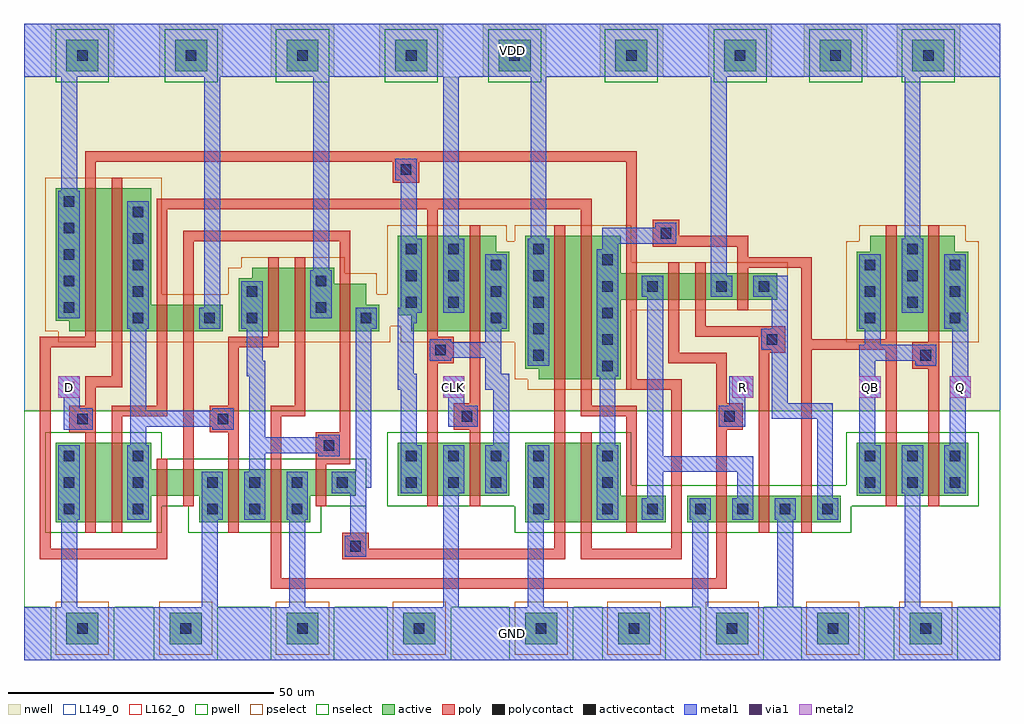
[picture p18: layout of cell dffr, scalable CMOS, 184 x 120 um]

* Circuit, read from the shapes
.subckt dffr CLK D GND Q QB R VDD
M1 n1 D GND GND nfet w=15u l=2u
M2 n2 n3 n1 GND nfet w=15u l=2u
M3 n4 n5 n2 GND nfet w=5u l=2u
M4 GND n6 n4 GND nfet w=5u l=2u
M5 n6 n2 GND GND nfet w=10u l=2u
M6 GND R n6 GND nfet w=10u l=2u
M7 n7 n6 GND GND nfet w=5u l=2u
M8 GND n3 n5 GND nfet w=10u l=2u
M9 n3 CLK GND GND nfet w=10u l=2u
M10 n8 n7 GND GND nfet w=15u l=2u
M11 n9 n5 n8 GND nfet w=15u l=2u
M12 n10 n3 n9 GND nfet w=5u l=2u
M13 n10 R GND GND nfet w=5u l=2u
M14 GND n11 n10 GND nfet w=5u l=2u
M15 n11 n9 GND GND nfet w=5u l=2u
M16 GND n9 QB GND nfet w=10u l=2u
M17 Q QB GND GND nfet w=10u l=2u
M18 n12 n5 VDD VDD pfet w=27u l=2u
M19 n2 D n12 VDD pfet w=27u l=2u
M20 n13 n3 n2 VDD pfet w=5u l=2u
M21 VDD n6 n13 VDD pfet w=5u l=2u
M22 n14 n2 n6 VDD pfet w=12u l=2u
M23 VDD R n14 VDD pfet w=12u l=2u
M24 n7 n6 VDD VDD pfet w=9u l=2u
M25 VDD n3 n5 VDD pfet w=18u l=2u
M26 n3 CLK VDD VDD pfet w=18u l=2u
M27 n15 n7 VDD VDD pfet w=27u l=2u
M28 n9 n3 n15 VDD pfet w=27u l=2u
M29 n10 n5 n9 VDD pfet w=5u l=2u
M30 n16 R n10 VDD pfet w=5u l=2u
M31 VDD n11 n16 VDD pfet w=5u l=2u
M32 n11 n9 VDD VDD pfet w=5u l=2u
M33 VDD n9 QB VDD pfet w=18u l=2u
M34 Q QB VDD VDD pfet w=18u l=2u
.ends

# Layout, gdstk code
import gdstk
lib = gdstk.Library(unit=1e-6, precision=1e-09)
def R(c, l, rs):  # rectangles x0, y0, x1, y1
    for r in rs: c.add(gdstk.rectangle(r[:2], r[2:], *l))
def A(c, l, x, y, w, h, nx, ny, dx, dy):  # array of equal rectangles
    R(c, l, [(x+i*dx, y+j*dy, x+i*dx+w, y+j*dy+h) for i in range(nx) for j in range(ny)])
def P(c, l, *ps):  # polygons
    for p in ps: c.add(gdstk.Polygon(p, *l))
pwell = (41, 0)
nwell = (42, 0)
active = (43, 0)
pselect = (44, 0)
nselect = (45, 0)
poly = (46, 0)
polycontact = (47, 0)
activecontact = (48, 0)
metal1 = (49, 0)
via1 = (50, 0)
metal2 = (51, 0)
L149_0 = (149, 0)
L162_0 = (162, 0)

pwell_contact = lib.new_cell('pwell_contact')
R(pwell_contact, pwell, [(-6,-6,6,5)])
R(pwell_contact, active, [(-3,-3,3,3)])
R(pwell_contact, pselect, [(-5,-5,5,5)])
R(pwell_contact, activecontact, [(-1,-1,1,1)])

nwell_contact = lib.new_cell('nwell_contact')
R(nwell_contact, nwell, [(-6,-5,6,6)])
R(nwell_contact, active, [(-3,-3,3,3)])
R(nwell_contact, nselect, [(-5,-5,5,5)])
R(nwell_contact, activecontact, [(-1,-1,1,1)])

via = lib.new_cell('via')
R(via, metal1, [(-2,-2,2,2)])
R(via, via1, [(-1,-1,1,1)])
R(via, metal2, [(-2,-2,2,2)])

dffr = lib.new_cell('dffr')
R(dffr, pwell, [(0,10,184,20), (0,10,184,47), (119,20,160,37), (64.5,25,97.5,47), (151,25,184,47)])
P(dffr, pwell, [(127,20),(88.5,20),(88.5,47),(118.5,47),(118.5,37),(127,37)],
  [(0,20),(60,20),(60,25),(68.5,25),(68.5,42),(30,42),(30,47),(0,47)])
R(dffr, nwell, [(0,47,184,110), (0,95,184,110)])
P(dffr, nwell, [(0,58),(2.5,58),(2.5,56),(43.5,56),(43.5,73),(30,73),(30,95),(0,95)],
  [(64.5,59),(67,59),(67,56),(97.5,56),(97.5,83),(95,83),(95,86),(64.5,86)],
  [(34.5,56),(73,56),(73,73),(70.5,73),(70.5,77),(64.5,77),(64.5,80),(37,80),(37,78),(34.5,78)],
  [(184,56),(151,56),(151,83),(153.5,83),(153.5,86),(181.5,86),(181.5,83),(184,83)],
  [(88.5,49),(91,49),(91,47),(118.5,47),(118.5,62),(148,62),(148,79),(118.5,79),(118.5,86),(88.5,86)])
R(dffr, active, [(125,26,154,31), (70.5,31,91.5,41), (157,31,178,41)])
P(dffr, active, [(6,64),(8.5,64),(8.5,62),(37.5,62),(37.5,67),(24,67),(24,89),(6,89)],
  [(70.5,65),(73,65),(73,62),(91.5,62),(91.5,77),(89,77),(89,80),(70.5,80)],
  [(121,26),(94.5,26),(94.5,41),(112.5,41),(112.5,31),(121,31)],
  [(40.5,62),(67,62),(67,67),(64.5,67),(64.5,71),(58.5,71),(58.5,74),(43,74),(43,72),(40.5,72)],
  [(6,26),(24,26),(24,31),(33,31),(33,26),(54,26),(54,31),(62.5,31),(62.5,36),(24,36),(24,41),(6,41)],
  [(178,62),(157,62),(157,77),(159.5,77),(159.5,80),(175.5,80),(175.5,77),(178,77)],
  [(94.5,55),(97,55),(97,53),(112.5,53),(112.5,68),(142,68),(142,73),(112.5,73),(112.5,80),(94.5,80)])
P(dffr, pselect, [(4,62),(6.5,62),(6.5,60),(39.5,60),(39.5,69),(26,69),(26,91),(4,91)],
  [(68.5,63),(71,63),(71,60),(93.5,60),(93.5,79),(91,79),(91,82),(68.5,82)],
  [(38.5,60),(69,60),(69,69),(66.5,69),(66.5,73),(60.5,73),(60.5,76),(41,76),(41,74),(38.5,74)],
  [(180,60),(155,60),(155,79),(157.5,79),(157.5,82),(177.5,82),(177.5,79),(180,79)],
  [(92.5,53),(95,53),(95,51),(114.5,51),(114.5,66),(144,66),(144,75),(114.5,75),(114.5,82),(92.5,82)])
R(dffr, nselect, [(123,24,156,33), (68.5,29,93.5,43), (155,29,180,43)])
P(dffr, nselect, [(123,24),(92.5,24),(92.5,43),(114.5,43),(114.5,33),(123,33)],
  [(4,24),(26,24),(26,29),(31,29),(31,24),(56,24),(56,29),(64.5,29),(64.5,38),(26,38),(26,43),(4,43)])
A(dffr, poly, 130.5, 24, 2, 2, 3, 2, 8, 7)
A(dffr, poly, 130.5, 26, 2, 5, 3, 1, 8, 0)
R(dffr, poly, [(60,19,65,24), (11.5,24,13.5,26), (16.5,24,18.5,26), (38.5,24,40.5,26), (46.5,24,48.5,26), (100,24,102,26), (105,24,107,26), (113.5,24,115.5,26), (11.5,26,13.5,41), (16.5,26,18.5,41), (38.5,26,40.5,36), (46.5,26,48.5,36), (100,26,102,41), (105,26,107,41), (113.5,26,115.5,31), (25,29,27,31), (30,29,32,31), (55,29,57,31), (76,29,78,31), (84,29,86,31), (162.5,29,164.5,31), (170.5,29,172.5,31), (25,31,27,36), (30,31,32,36), (55,31,57,36), (76,31,78,41), (84,31,86,41), (113.5,31,115.5,33), (162.5,31,164.5,41), (170.5,31,172.5,41), (25,36,27,38), (30,36,32,38), (38.5,36,40.5,38), (46.5,36,48.5,38), (55,36,57,38), (55,38,60,43), (11.5,41,13.5,43), (16.5,41,18.5,43), (76,41,78,43), (84,41,86,43), (100,41,102,43), (105,41,107,43), (162.5,41,164.5,43), (170.5,41,172.5,43), (8.5,43,13.5,48), (35,43,40,48), (81,43.5,86,48.5), (130.5,43.5,135.5,48.5), (100,51,102,53), (105,51,107,53), (100,53,102,80), (105,53,107,80), (167.5,55,172.5,60), (76,56,81,61), (138.5,58,143.5,63), (11.5,60,13.5,62), (16.5,60,18.5,62), (25,60,27,62), (30,60,32,62), (46,60,48,62), (51,60,53,62), (59.5,60,61.5,62), (76,60,78,62), (84,60,86,62), (162.5,60,164.5,62), (170.5,60,172.5,62), (11.5,62,13.5,89), (16.5,62,18.5,89), (25,62,27,67), (30,62,32,67), (46,62,48,74), (51,62,53,74), (59.5,62,61.5,71), (76,62,78,80), (84,62,86,80), (162.5,62,164.5,80), (170.5,62,172.5,80), (113.5,66,115.5,68), (121.5,66,123.5,68), (126.5,66,128.5,68), (134.5,66,136.5,68), (25,67,27,69), (30,67,32,69), (113.5,68,115.5,73), (121.5,68,123.5,73), (126.5,68,128.5,73), (134.5,68,136.5,73), (59.5,71,61.5,73), (113.5,73,115.5,75), (121.5,73,123.5,75), (126.5,73,128.5,75), (134.5,73,136.5,75), (46,74,48,76), (51,74,53,76), (118.5,78,123.5,83), (76,80,78,82), (84,80,86,82), (100,80,102,82), (105,80,107,82), (162.5,80,164.5,82), (170.5,80,172.5,82), (11.5,89,13.5,91), (16.5,89,18.5,91), (69.5,90,74.5,95)])
R(dffr, polycontact, [(61.5,20.5,63.5,22.5), (56.5,39.5,58.5,41.5), (10,44.5,12,46.5), (36.5,44.5,38.5,46.5), (82.5,45,84.5,47), (132,45,134,47), (169,56.5,171,58.5), (77.5,57.5,79.5,59.5), (140,59.5,142,61.5), (120,79.5,122,81.5), (71,91.5,73,93.5)])
A(dffr, activecontact, 7.5, 27.5, 2, 2, 1, 3, 0, 5)
A(dffr, activecontact, 20.5, 27.5, 2, 2, 1, 3, 0, 5)
A(dffr, activecontact, 34.5, 27.5, 2, 2, 3, 2, 8, 5)
A(dffr, activecontact, 109, 27.5, 2, 2, 1, 3, 0, 5)
A(dffr, activecontact, 126.5, 27.5, 2, 2, 4, 1, 8, 0)
A(dffr, activecontact, 72, 32.5, 2, 2, 4, 2, 8, 5)
A(dffr, activecontact, 158.5, 32.5, 2, 2, 3, 2, 8, 5)
A(dffr, activecontact, 109, 54.5, 2, 2, 1, 5, 0, 5)
A(dffr, activecontact, 96, 56.5, 2, 2, 1, 5, 0, 5)
A(dffr, activecontact, 20.5, 63.5, 2, 2, 1, 5, 0, 5)
A(dffr, activecontact, 88, 63.5, 2, 2, 1, 3, 0, 5)
A(dffr, activecontact, 158.5, 63.5, 2, 2, 1, 3, 0, 5)
A(dffr, activecontact, 174.5, 63.5, 2, 2, 1, 3, 0, 5)
A(dffr, activecontact, 7.5, 65.5, 2, 2, 1, 5, 0, 5)
A(dffr, activecontact, 72, 66.5, 2, 2, 1, 3, 0, 5)
A(dffr, activecontact, 80, 66.5, 2, 2, 1, 3, 0, 5)
A(dffr, activecontact, 166.5, 66.5, 2, 2, 1, 3, 0, 5)
R(dffr, activecontact, [(96,27.5,98,29.5), (117.5,27.5,119.5,29.5), (59,32.5,61,34.5), (34,63.5,36,65.5), (42,63.5,44,65.5), (63.5,63.5,65.5,65.5), (55,65.5,57,67.5), (42,68.5,44,70.5), (117.5,69.5,119.5,71.5), (130.5,69.5,132.5,71.5), (138.5,69.5,140.5,71.5), (55,70.5,57,72.5)])
A(dffr, metal1, 33.5, 26.5, 4, 9, 3, 1, 8, 0)
A(dffr, metal1, 125.5, 26.5, 4, 4, 4, 1, 8, 0)
A(dffr, metal1, 71, 31.5, 4, 9, 3, 1, 8, 0)
A(dffr, metal1, 157.5, 31.5, 4, 9, 3, 1, 8, 0)
R(dffr, metal1, [(0,0,184,10), (0,0,184,10), (60.5,19.5,64.5,23.5), (6.5,26.5,10.5,40.5), (19.5,26.5,23.5,40.5), (95,26.5,99,40.5), (108,26.5,112,40.5), (116.5,26.5,120.5,30.5), (58,31.5,62,35.5), (55.5,38.5,59.5,42.5), (9,43.5,13,47.5), (35.5,43.5,39.5,47.5), (81.5,44,85.5,48), (131,44,135,48), (108,53.5,112,77.5), (95,55.5,99,79.5), (168,55.5,172,59.5), (76.5,56.5,80.5,60.5), (139,58.5,143,62.5), (19.5,62.5,23.5,86.5), (33,62.5,37,66.5), (41,62.5,45,71.5), (62.5,62.5,66.5,66.5), (87,62.5,91,76.5), (157.5,62.5,161.5,76.5), (173.5,62.5,177.5,76.5), (6.5,64.5,10.5,88.5), (54,64.5,58,73.5), (71,65.5,75,79.5), (79,65.5,83,79.5), (165.5,65.5,169.5,79.5), (116.5,68.5,120.5,72.5), (129.5,68.5,133.5,72.5), (137.5,68.5,141.5,72.5), (119,78.5,123,82.5), (70,90.5,74,94.5), (0,110,184,120), (0,110,184,120)])
R(dffr, metal2, [(6.5,49.5,10.5,53.5), (79,49.5,83,53.5), (133.5,49.5,137.5,53.5), (157.5,49.5,161.5,53.5), (174.5,49.5,178.5,53.5)])
R(dffr, L149_0, [(0,0,184,10), (0,0,184,120), (60.5,19.5,64.5,23.5), (55.5,38.5,59.5,42.5), (9,43.5,13,47.5), (35.5,43.5,39.5,47.5), (81.5,44,85.5,48), (131,44,135,48), (168,55.5,172,59.5), (76.5,56.5,80.5,60.5), (139,58.5,143,62.5), (119,78.5,123,82.5), (70,90.5,74,94.5), (0,110,184,120)])
R(dffr, L162_0, [(6.5,49.5,10.5,53.5), (79,49.5,83,53.5), (133.5,49.5,137.5,53.5), (157.5,49.5,161.5,53.5), (174.5,49.5,178.5,53.5)])
dffr.add(gdstk.FlexPath([(8.5,88.5),(8.5,110)], 3, ends="flush", simple_path=True, layer=149, datatype=0))  # L149_0
dffr.add(gdstk.FlexPath([(21.5,62.5),(21.5,40.5)], 3, ends="flush", simple_path=True, layer=149, datatype=0))  # L149_0
dffr.add(gdstk.FlexPath([(35,26.5),(35,10)], 3, ends="flush", simple_path=True, layer=149, datatype=0))  # L149_0
dffr.add(gdstk.FlexPath([(45.5,40.5),(55.5,40.5)], 3, ends="flush", simple_path=True, layer=149, datatype=0))  # L149_0
dffr.add(gdstk.FlexPath([(51.5,26.5),(51.5,10)], 3, ends="flush", simple_path=True, layer=149, datatype=0))  # L149_0
dffr.add(gdstk.FlexPath([(56,73.5),(56,110)], 3, ends="flush", simple_path=True, layer=149, datatype=0))  # L149_0
dffr.add(gdstk.FlexPath([(35.5,45.5),(23,45.5)], 3, ends="flush", simple_path=True, layer=149, datatype=0))  # L149_0
dffr.add(gdstk.FlexPath([(44,35.5),(44,55),(43.5,55),(43.5,62.5)], 3, ends="flush", simple_path=True, layer=149, datatype=0))  # L149_0
dffr.add(gdstk.FlexPath([(35.5,66.5),(35.5,110)], 3, ends="flush", simple_path=True, layer=149, datatype=0))  # L149_0
dffr.add(gdstk.FlexPath([(131,72.5),(131,110)], 3, ends="flush", simple_path=True, layer=149, datatype=0))  # L149_0
dffr.add(gdstk.FlexPath([(96.5,26.5),(96.5,10)], 3, ends="flush", simple_path=True, layer=149, datatype=0))  # L149_0
dffr.add(gdstk.FlexPath([(127.5,26.5),(127.5,10)], 3, ends="flush", simple_path=True, layer=149, datatype=0))  # L149_0
dffr.add(gdstk.FlexPath([(63,23.5),(63,34),(64,34),(64,62.5)], 3, ends="flush", simple_path=True, layer=149, datatype=0))  # L149_0
dffr.add(gdstk.FlexPath([(119,30.5),(119,37),(136,37),(136,30.5)], 3, ends="flush", simple_path=True, layer=149, datatype=0))  # L149_0
dffr.add(gdstk.FlexPath([(80.5,31.5),(80.5,10)], 3, ends="flush", simple_path=True, layer=149, datatype=0))  # L149_0
dffr.add(gdstk.FlexPath([(110,53.5),(110,40.5)], 3, ends="flush", simple_path=True, layer=149, datatype=0))  # L149_0
dffr.add(gdstk.FlexPath([(80.5,79.5),(80.5,110.5)], 3, ends="flush", simple_path=True, layer=149, datatype=0))  # L149_0
dffr.add(gdstk.FlexPath([(87,58.5),(80.5,58.5)], 3, ends="flush", simple_path=True, layer=149, datatype=0))  # L149_0
dffr.add(gdstk.FlexPath([(143.5,26.5),(143.5,10)], 3, ends="flush", simple_path=True, layer=149, datatype=0))  # L149_0
dffr.add(gdstk.FlexPath([(119,80),(110.5,80),(110.5,77.5)], 3, ends="flush", simple_path=True, layer=149, datatype=0))  # L149_0
dffr.add(gdstk.FlexPath([(160,62.5),(160,58),(159,58),(159,40.5)], 3, ends="flush", simple_path=True, layer=149, datatype=0))  # L149_0
dffr.add(gdstk.FlexPath([(119,38.5),(119,68.5)], 3, ends="flush", simple_path=True, layer=149, datatype=0))  # L149_0
dffr.add(gdstk.FlexPath([(8.5,26.5),(8.5,10)], 3, ends="flush", simple_path=True, layer=149, datatype=0))  # L149_0
dffr.add(gdstk.FlexPath([(173.5,64),(176.5,64),(176.5,52),(176,52),(176,40.5)], 3, ends="flush", simple_path=True, layer=149, datatype=0))  # L149_0
dffr.add(gdstk.FlexPath([(161.5,58),(168,58)], 3, ends="flush", simple_path=True, layer=149, datatype=0))  # L149_0
dffr.add(gdstk.FlexPath([(167.5,79.5),(167.5,110)], 3, ends="flush", simple_path=True, layer=149, datatype=0))  # L149_0
dffr.add(gdstk.FlexPath([(151,30.5),(151,47),(142.5,47),(142.5,72.5)], 3, ends="flush", simple_path=True, layer=149, datatype=0))  # L149_0
dffr.add(gdstk.FlexPath([(97,79.5),(97,110)], 3, ends="flush", simple_path=True, layer=149, datatype=0))  # L149_0
dffr.add(gdstk.FlexPath([(134.5,44),(134.5,53.5)], 3, ends="flush", simple_path=True, layer=149, datatype=0))  # L149_0
dffr.add(gdstk.FlexPath([(88.5,62.5),(88.5,52.5),(90,52.5),(90,39),(87,39)], 3, ends="flush", simple_path=True, layer=149, datatype=0))  # L149_0
dffr.add(gdstk.FlexPath([(167.5,31.5),(167.5,10)], 3, ends="flush", simple_path=True, layer=149, datatype=0))  # L149_0
dffr.add(gdstk.FlexPath([(81.5,44),(81.5,53.5)], 3, ends="flush", simple_path=True, layer=149, datatype=0))  # L149_0
dffr.add(gdstk.FlexPath([(9,43.5),(9,53.5)], 3, ends="flush", simple_path=True, layer=149, datatype=0))  # L149_0
dffr.add(gdstk.FlexPath([(72.5,40.5),(72.5,52.5),(72,52.5),(72,65),(72.5,65),(72.5,90.5)], 3, ends="flush", simple_path=True, layer=149, datatype=0))  # L149_0
dffr.add(gdstk.FlexPath([(13.5,60),(4,60),(4,20),(26,20),(26,29)], 2, ends="flush", simple_path=True, layer=46, datatype=0))  # poly
dffr.add(gdstk.FlexPath([(106,51),(106,47),(114.5,47),(114.5,33)], 2, ends="flush", simple_path=True, layer=46, datatype=0))  # poly
dffr.add(gdstk.FlexPath([(122.5,66),(122.5,57),(131.5,57),(131.5,33)], 2, ends="flush", simple_path=True, layer=46, datatype=0))  # poly
dffr.add(gdstk.FlexPath([(48,60),(39.5,60),(39.5,38)], 2, ends="flush", simple_path=True, layer=46, datatype=0))  # poly
dffr.add(gdstk.FlexPath([(52,60),(52,47),(47.5,47),(47.5,38)], 2, ends="flush", simple_path=True, layer=46, datatype=0))  # poly
dffr.add(gdstk.FlexPath([(55,38),(60.5,38),(60.5,60)], 2, ends="flush", simple_path=True, layer=46, datatype=0))  # poly
dffr.add(gdstk.FlexPath([(101,51),(101,43)], 2, ends="flush", simple_path=True, layer=46, datatype=0))  # poly
dffr.add(gdstk.FlexPath([(31,60),(31,38)], 2, ends="flush", simple_path=True, layer=46, datatype=0))  # poly
dffr.add(gdstk.FlexPath([(26,69),(26,86),(77,86),(77,82)], 2, ends="flush", simple_path=True, layer=46, datatype=0))  # poly
dffr.add(gdstk.FlexPath([(31,69),(31,80),(60.5,80),(60.5,73)], 2, ends="flush", simple_path=True, layer=46, datatype=0))  # poly
dffr.add(gdstk.FlexPath([(26,60),(26,47),(17.5,47),(17.5,43)], 2, ends="flush", simple_path=True, layer=46, datatype=0))  # poly
dffr.add(gdstk.FlexPath([(17.5,60),(17.5,52.5),(12.5,52.5),(12.5,43)], 2, ends="flush", simple_path=True, layer=46, datatype=0))  # poly
dffr.add(gdstk.FlexPath([(85,60),(85,43)], 2, ends="flush", simple_path=True, layer=46, datatype=0))  # poly
dffr.add(gdstk.FlexPath([(77,60),(77,43)], 2, ends="flush", simple_path=True, layer=46, datatype=0))  # poly
dffr.add(gdstk.FlexPath([(101,24),(101,20),(63.5,20)], 2, ends="flush", simple_path=True, layer=46, datatype=0))  # poly
dffr.add(gdstk.FlexPath([(114.5,75),(114.5,95),(12.5,95),(12.5,91)], 2, ends="flush", simple_path=True, layer=46, datatype=0))  # poly
dffr.add(gdstk.FlexPath([(127.5,66),(127.5,62),(139.5,62),(139.5,33)], 2, ends="flush", simple_path=True, layer=46, datatype=0))  # poly
dffr.add(gdstk.FlexPath([(171.5,60),(171.5,43)], 2, ends="flush", simple_path=True, layer=46, datatype=0))  # poly
dffr.add(gdstk.FlexPath([(78,86),(106,86),(106,82)], 2, ends="flush", simple_path=True, layer=46, datatype=0))  # poly
dffr.add(gdstk.FlexPath([(163.5,60),(163.5,43)], 2, ends="flush", simple_path=True, layer=46, datatype=0))  # poly
dffr.add(gdstk.FlexPath([(123.5,79),(135.5,79),(135.5,75),(147.5,75),(147.5,33)], 2, ends="flush", simple_path=True, layer=46, datatype=0))  # poly
dffr.add(gdstk.FlexPath([(148.5,59.5),(162.5,59.5)], 2, ends="flush", simple_path=True, layer=46, datatype=0))  # poly
dffr.add(gdstk.FlexPath([(47.5,24),(47.5,14.5),(131.5,14.5),(131.5,24)], 2, ends="flush", simple_path=True, layer=46, datatype=0))  # poly
dffr.add(gdstk.FlexPath([(114.5,66),(114.5,52),(123,52),(123,20),(106,20),(106,24)], 2, ends="flush", simple_path=True, layer=46, datatype=0))  # poly
dffr.add(gdstk.FlexPath([(8.5,88.5),(8.5,110)], 3, ends="flush", simple_path=True, layer=49, datatype=0))  # metal1
dffr.add(gdstk.FlexPath([(21.5,62.5),(21.5,40.5)], 3, ends="flush", simple_path=True, layer=49, datatype=0))  # metal1
dffr.add(gdstk.FlexPath([(35,26.5),(35,10)], 3, ends="flush", simple_path=True, layer=49, datatype=0))  # metal1
dffr.add(gdstk.FlexPath([(45.5,40.5),(55.5,40.5)], 3, ends="flush", simple_path=True, layer=49, datatype=0))  # metal1
dffr.add(gdstk.FlexPath([(51.5,26.5),(51.5,10)], 3, ends="flush", simple_path=True, layer=49, datatype=0))  # metal1
dffr.add(gdstk.FlexPath([(56,73.5),(56,110)], 3, ends="flush", simple_path=True, layer=49, datatype=0))  # metal1
dffr.add(gdstk.FlexPath([(35.5,45.5),(23,45.5)], 3, ends="flush", simple_path=True, layer=49, datatype=0))  # metal1
dffr.add(gdstk.FlexPath([(44,35.5),(44,55),(43.5,55),(43.5,62.5)], 3, ends="flush", simple_path=True, layer=49, datatype=0))  # metal1
dffr.add(gdstk.FlexPath([(35.5,66.5),(35.5,110)], 3, ends="flush", simple_path=True, layer=49, datatype=0))  # metal1
dffr.add(gdstk.FlexPath([(131,72.5),(131,110)], 3, ends="flush", simple_path=True, layer=49, datatype=0))  # metal1
dffr.add(gdstk.FlexPath([(96.5,26.5),(96.5,10)], 3, ends="flush", simple_path=True, layer=49, datatype=0))  # metal1
dffr.add(gdstk.FlexPath([(127.5,26.5),(127.5,10)], 3, ends="flush", simple_path=True, layer=49, datatype=0))  # metal1
dffr.add(gdstk.FlexPath([(63,23.5),(63,34),(64,34),(64,62.5)], 3, ends="flush", simple_path=True, layer=49, datatype=0))  # metal1
dffr.add(gdstk.FlexPath([(119,30.5),(119,37),(136,37),(136,30.5)], 3, ends="flush", simple_path=True, layer=49, datatype=0))  # metal1
dffr.add(gdstk.FlexPath([(80.5,31.5),(80.5,10)], 3, ends="flush", simple_path=True, layer=49, datatype=0))  # metal1
dffr.add(gdstk.FlexPath([(110,53.5),(110,40.5)], 3, ends="flush", simple_path=True, layer=49, datatype=0))  # metal1
dffr.add(gdstk.FlexPath([(80.5,79.5),(80.5,110.5)], 3, ends="flush", simple_path=True, layer=49, datatype=0))  # metal1
dffr.add(gdstk.FlexPath([(87,58.5),(80.5,58.5)], 3, ends="flush", simple_path=True, layer=49, datatype=0))  # metal1
dffr.add(gdstk.FlexPath([(143.5,26.5),(143.5,10)], 3, ends="flush", simple_path=True, layer=49, datatype=0))  # metal1
dffr.add(gdstk.FlexPath([(119,80),(110.5,80),(110.5,77.5)], 3, ends="flush", simple_path=True, layer=49, datatype=0))  # metal1
dffr.add(gdstk.FlexPath([(160,62.5),(160,58),(159,58),(159,40.5)], 3, ends="flush", simple_path=True, layer=49, datatype=0))  # metal1
dffr.add(gdstk.FlexPath([(119,38.5),(119,68.5)], 3, ends="flush", simple_path=True, layer=49, datatype=0))  # metal1
dffr.add(gdstk.FlexPath([(8.5,26.5),(8.5,10)], 3, ends="flush", simple_path=True, layer=49, datatype=0))  # metal1
dffr.add(gdstk.FlexPath([(173.5,64),(176.5,64),(176.5,52),(176,52),(176,40.5)], 3, ends="flush", simple_path=True, layer=49, datatype=0))  # metal1
dffr.add(gdstk.FlexPath([(161.5,58),(168,58)], 3, ends="flush", simple_path=True, layer=49, datatype=0))  # metal1
dffr.add(gdstk.FlexPath([(167.5,79.5),(167.5,110)], 3, ends="flush", simple_path=True, layer=49, datatype=0))  # metal1
dffr.add(gdstk.FlexPath([(151,30.5),(151,47),(142.5,47),(142.5,72.5)], 3, ends="flush", simple_path=True, layer=49, datatype=0))  # metal1
dffr.add(gdstk.FlexPath([(97,79.5),(97,110)], 3, ends="flush", simple_path=True, layer=49, datatype=0))  # metal1
dffr.add(gdstk.FlexPath([(134.5,44),(134.5,53.5)], 3, ends="flush", simple_path=True, layer=49, datatype=0))  # metal1
dffr.add(gdstk.FlexPath([(88.5,62.5),(88.5,52.5),(90,52.5),(90,39),(87,39)], 3, ends="flush", simple_path=True, layer=49, datatype=0))  # metal1
dffr.add(gdstk.FlexPath([(167.5,31.5),(167.5,10)], 3, ends="flush", simple_path=True, layer=49, datatype=0))  # metal1
dffr.add(gdstk.FlexPath([(81.5,44),(81.5,53.5)], 3, ends="flush", simple_path=True, layer=49, datatype=0))  # metal1
dffr.add(gdstk.FlexPath([(9,43.5),(9,53.5)], 3, ends="flush", simple_path=True, layer=49, datatype=0))  # metal1
dffr.add(gdstk.FlexPath([(72.5,40.5),(72.5,52.5),(72,52.5),(72,65),(72.5,65),(72.5,90.5)], 3, ends="flush", simple_path=True, layer=49, datatype=0))  # metal1
dffr.add(gdstk.Reference(pwell_contact, (152.5,6)))
dffr.add(gdstk.Reference(pwell_contact, (115,6)))
dffr.add(gdstk.Reference(pwell_contact, (133.5,6)))
dffr.add(gdstk.Reference(pwell_contact, (74.5,6)))
dffr.add(gdstk.Reference(pwell_contact, (30.5,6)))
dffr.add(gdstk.Reference(pwell_contact, (52.5,6)))
dffr.add(gdstk.Reference(pwell_contact, (97.5,6)))
dffr.add(gdstk.Reference(pwell_contact, (170,6)))
dffr.add(gdstk.Reference(pwell_contact, (11,6)))
dffr.add(gdstk.Reference(nwell_contact, (73,114)))
dffr.add(gdstk.Reference(nwell_contact, (31.5,114)))
dffr.add(gdstk.Reference(nwell_contact, (52.5,114)))
dffr.add(gdstk.Reference(nwell_contact, (153,114)))
dffr.add(gdstk.Reference(nwell_contact, (114.5,114)))
dffr.add(gdstk.Reference(nwell_contact, (135,114)))
dffr.add(gdstk.Reference(nwell_contact, (92.5,114)))
dffr.add(gdstk.Reference(nwell_contact, (170.5,114)))
dffr.add(gdstk.Reference(nwell_contact, (11,114)))
dffr.add(gdstk.Reference(via, (176.5,51.5)))
dffr.add(gdstk.Reference(via, (81,51.5)))
dffr.add(gdstk.Reference(via, (8.5,51.5)))
dffr.add(gdstk.Reference(via, (135.5,51.5)))
dffr.add(gdstk.Reference(via, (159.5,51.5)))
dffr.add(gdstk.Label('CLK', (81,51.5), layer=3, texttype=0))
dffr.add(gdstk.Label('R', (135.5,51.5), layer=3, texttype=0))
dffr.add(gdstk.Label('D', (8.5,51.5), layer=3, texttype=0))
dffr.add(gdstk.Label('QB', (159.5,51.5), layer=3, texttype=0))
dffr.add(gdstk.Label('Q', (176.5,51.5), layer=3, texttype=0))
dffr.add(gdstk.Label('VDD', (92,115), layer=2, texttype=0))
dffr.add(gdstk.Label('GND', (92,5), layer=2, texttype=0))

lib.write_gds('dffr.gds')
